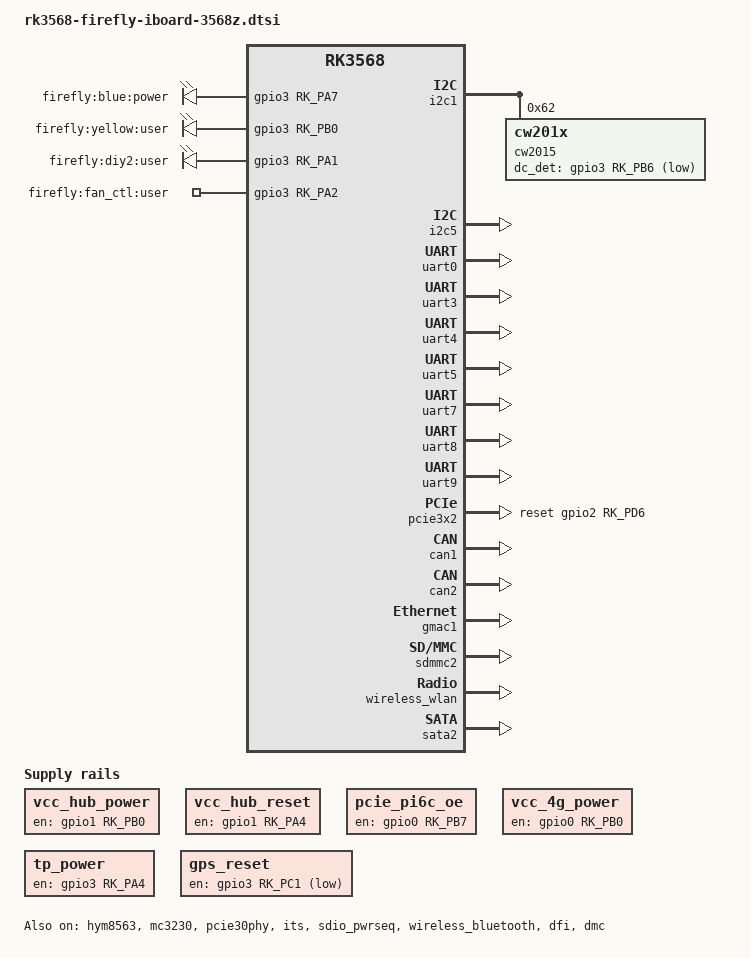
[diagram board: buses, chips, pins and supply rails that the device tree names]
// SPDX-License-Identifier: (GPL-2.0+ OR MIT)
/*
 * Copyright (c) 2020 Rockchip Electronics Co., Ltd.
 *
 */

#include "rk3568-firefly-port.dtsi"

/ {

	vcc_hub_power: vcc-hub-power-regulator {
		compatible = "regulator-fixed";
		enable-active-high;
		gpio = <&gpio1 RK_PB0 GPIO_ACTIVE_HIGH>;
		pinctrl-names = "default";
		pinctrl-0 = <&vcc_hub_power_en>;
		regulator-name = "vcc_hub_power_en";
		regulator-always-on;
	};

	vcc_hub_reset: vcc-hub-reset-regulator {
		compatible = "regulator-fixed";
		enable-active-high;
		gpio = <&gpio1 RK_PA4 GPIO_ACTIVE_HIGH>;
		pinctrl-names = "default";
		pinctrl-0 = <&vcc_hub_reset_en>;
		regulator-name = "vcc_hub_reset_en";
		regulator-always-on;
	};

    pcie_pi6c_oe: pcie-pi6c-oe-regulator {
		compatible = "regulator-fixed";
		enable-active-high;
		gpio = <&gpio0 RK_PB7 GPIO_ACTIVE_HIGH>;
		pinctrl-names = "default";
		pinctrl-0 = <&pcie_pi6c_oe_en>;
		regulator-name = "pcie_pi6c_oe_en";
		regulator-always-on;
	};

    vcc_4g_power: vcc-4g-power-regulator {
        compatible = "regulator-fixed";
        enable-active-high;
        gpio = <&gpio0 RK_PB0 GPIO_ACTIVE_HIGH>;
        pinctrl-names = "default";
        pinctrl-0 = <&vcc_4g_power_en>;
        regulator-name = "vcc_4g_power_en";
        regulator-always-on;
    };

    tp_power: tp-power-regulator {
		compatible = "regulator-fixed";
		enable-active-high;
		gpio = <&gpio3 RK_PA4 GPIO_ACTIVE_HIGH>;
		pinctrl-names = "default";
		pinctrl-0 = <&tp_power_en>;
		regulator-name = "tp_power_en";
		regulator-always-on;
    };

    gps_reset: gps-reset-regulator {
		compatible = "regulator-fixed";
		//enable-active-high;
		gpio = <&gpio3 RK_PC1 GPIO_ACTIVE_LOW>;
		pinctrl-names = "default";
		pinctrl-0 = <&gps_reset_en>;
		regulator-name = "gps_reset_en";
		regulator-always-on;
    };

    firefly_leds: leds {
		status = "okay";
		compatible = "gpio-leds";

		power_led: power {
			label = "firefly:blue:power";
			linux,default-trigger = "ir-power-click";
			default-state = "on";
			gpios = <&gpio3 RK_PA7 GPIO_ACTIVE_HIGH>;
			pinctrl-names = "default";
			pinctrl-0 = <&led_power>;
		};

		user_led: user {
			label = "firefly:yellow:user";
			linux,default-trigger = "ir-user-click";
			default-state = "off";
			gpios = <&gpio3 RK_PB0 GPIO_ACTIVE_HIGH>;
			pinctrl-names = "default";
			pinctrl-0 = <&led_user>;
		};

		diy2_led: diy2 {
			label = "firefly:diy2:user";
			linux,default-trigger = "ir-user-click";
			default-state = "off";
			gpios = <&gpio3 RK_PA1 GPIO_ACTIVE_HIGH>;
			pinctrl-names = "default";
			pinctrl-0 = <&led_diy2>;
		};

		fan_ctl: fan-ctl {
			label = "firefly:fan_ctl:user";
			linux,default-trigger = "ir-user-click";
			default-state = "on";
			gpios = <&gpio3 RK_PA2 GPIO_ACTIVE_HIGH>;
			pinctrl-names = "default";
			pinctrl-0 = <&fan_user>;
		};
    };

    test-power {
        status = "okay";
    };

	fiq-debugger {
		rockchip,baudrate = <115200>;  /* Only 115200 and 1500000 */
		status = "okay";
	};
};

&i2c1 {
    status = "okay";

    cw2015: cw2015@62 {
        status = "okay";
        compatible = "cw201x";
        reg = <0x62>;
        dc_det_gpio = <&gpio3 RK_PB6 GPIO_ACTIVE_LOW>;
        //bat_low_gpio = <&gpio8 GPIO_A7 GPIO_ACTIVE_LOW>;
        //chg_ok_gpio = <&gpio7 GPIO_B4 GPIO_ACTIVE_HIGH>;
        bat_config_info = <0x15 0x7A 0x55 0x55 0x50 0x43 0x73 0x4B
                           0x46 0x54 0x4E 0x43 0x3B 0x34 0x2E 0x2B
                           0x28 0x27 0x28 0x31 0x3D 0x44 0x48 0x1E
                           0x14 0x98 0x0A 0x3E 0x41 0x62 0x84 0x80
                           0x88 0x8B 0x85 0x84 0x48 0x20 0x40 0x48
                           0x22 0x43 0x52 0x87 0x8F 0x91 0x94 0x52
                           0x82 0x8C 0x92 0x96 0x76 0xBD 0xCA 0xCB
                           0x2F 0x7D 0x72 0xA5 0xB5 0xC1 0x64 0x31>;
        monitor_sec = <2>;
        virtual_power = <0>;
        //divider_res1 = <200>;
        //divider_res2 = <200>;
    };

};

&i2c5 {
	status = "okay";
};

&hym8563 {
	status = "okay";
};

&mc3230 {
	status = "okay";
};

&uart0 {
	status = "okay";
	pinctrl-names = "default";
	pinctrl-0 = <&uart0_xfer &uart0_ctsn &uart0_rtsn>;
};

// gps
&uart3 {
	status = "okay";
	pinctrl-names = "default";
	pinctrl-0 = <&uart3m1_xfer>;
};

&uart4 {
	status = "okay";
	pinctrl-names = "default";
	pinctrl-0 = <&uart4m1_xfer>;
};

&uart5 {
	status = "okay";
	pinctrl-names = "default";
	pinctrl-0 = <&uart5m1_xfer>;
};

&uart7 {
	status = "okay";
	pinctrl-names = "default";
	pinctrl-0 = <&uart7m1_xfer>;
};

// bluetooth
&uart8 {
	status = "okay";
};

&uart9 {
	status = "okay";
	pinctrl-names = "default";
	pinctrl-0 = <&uart9m1_xfer>;
};

&pwm4 {
	status = "disabled";
};

&pwm5 {
	status = "disabled";
};

&pcie30phy {
	status = "okay";
};

&pcie3x2 {
	status = "okay";
	reset-gpios = <&gpio2 RK_PD6 GPIO_ACTIVE_HIGH>;
	/delete-property/ vpcie3v3-supply;
};

&its {
	status = "okay";
};

&can1 {
	status = "okay";
};

&can2 {
	status = "okay";
};

&gmac1 {
    status = "okay";
    tx_delay = <0x49>;
    rx_delay = <0x28>;
};

&sdio_pwrseq {
	status = "okay";
	reset-gpios = <&gpio3 RK_PD5 GPIO_ACTIVE_LOW>;
	post-power-on-delay-ms = <100>;
};

// wifi
&sdmmc2 {
	status = "okay";
};

&wireless_wlan {
	status = "okay";
	wifi_chip_type = "ap6256";
};

&wireless_bluetooth {
	status = "okay";
	BT,wake_gpio     = <&gpio0 RK_PC3 GPIO_ACTIVE_HIGH>;
	BT,wake_host_irq = <&gpio2 RK_PD7 GPIO_ACTIVE_HIGH>;
};

&spdif_8ch{
    status = "disabled";
};

&rk809_codec {
	spk-ctl = <&gpio0 RK_PA6 GPIO_ACTIVE_HIGH>;
	/delete-property/ hp-ctl-gpios;
	hp-det-adc-value = <900>;
	hp-adc-drift-scope = <200>;
};

&spk_ctl_gpio {
	rockchip,pins = <0 RK_PA6 RK_FUNC_GPIO &pcfg_pull_up>;
};

&rk809 {
	rtc {
		status = "disabled";
	};
};

&sata2 {
	status = "okay";
};

&dfi {
	status = "okay";
};

&dmc {
	status = "okay";
};

&u2phy0_host {
	/delete-property/ phy-supply;
};

&u2phy0_otg {
	/delete-property/ phy-supply;
};

&u2phy1_host {
	/delete-property/ phy-supply;
};

&u2phy1_otg {
	/delete-property/ phy-supply;
};

/delete-node/ &vcc5v0_host;
/delete-node/ &vcc3v3_vga;
/delete-node/ &vcc3v3_pcie;
/delete-node/ &vcc3v3_lcd1_n;

&pinctrl {

	usb {
		vcc_hub_power_en: vcc-hub-power-en {
			rockchip,pins = <1 RK_PB0 RK_FUNC_GPIO &pcfg_pull_none>;
		};

		vcc_hub_reset_en: vcc-hub-reset-en {
			rockchip,pins = <1 RK_PA4 RK_FUNC_GPIO &pcfg_pull_none>;
		};
	};

	pcie {
		pcie_pi6c_oe_en: pcie-pi6c-oe-en {
			rockchip,pins = <0 RK_PB7 RK_FUNC_GPIO &pcfg_pull_none>;
		};
	};

	4g {
		vcc_4g_power_en: vcc-4g-power-en {
	        rockchip,pins = <0 RK_PB0 RK_FUNC_GPIO &pcfg_pull_none>;
		};
	};

	leds {
		led_power: led-power {
	        rockchip,pins = <0 RK_PC0 RK_FUNC_GPIO &pcfg_pull_none>;
		};

		led_user: led-user {
			rockchip,pins = <3 RK_PB0 RK_FUNC_GPIO &pcfg_pull_none>;
		};

		led_diy2: led-diy2 {
		    rockchip,pins = <3 RK_PA1 RK_FUNC_GPIO &pcfg_pull_none>;
		};

		fan_user: fan-user {
			rockchip,pins = <3 RK_PA2 RK_FUNC_GPIO &pcfg_pull_none>;
		};
	};

	touchscreen {
		tp_power_en: tp-power-en {
			rockchip,pins = <3 RK_PA4 RK_FUNC_GPIO &pcfg_pull_none>;
		};
	};

	gps {
		gps_reset_en: gps-reset-en {
			rockchip,pins = <3 RK_PC1 RK_FUNC_GPIO &pcfg_pull_none>;
		};
	};
};
